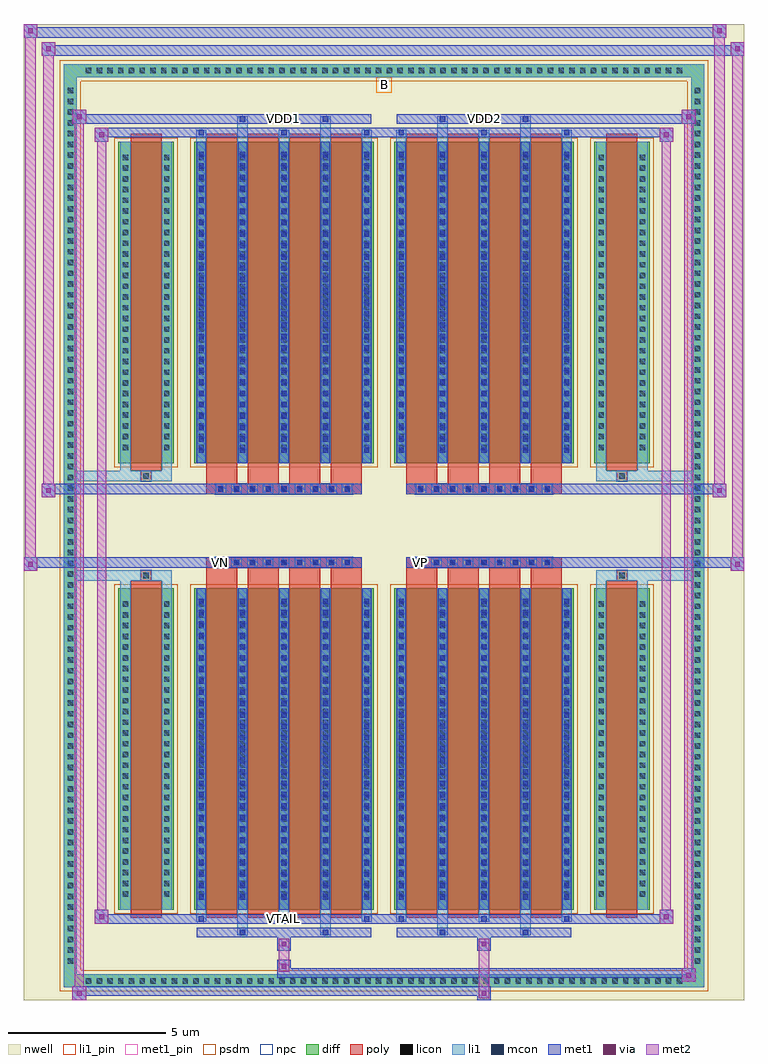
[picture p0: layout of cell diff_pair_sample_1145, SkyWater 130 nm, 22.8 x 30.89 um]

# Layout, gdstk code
import gdstk
lib = gdstk.Library(unit=1e-6, precision=5e-09)
def R(c, l, rs):  # rectangles x0, y0, x1, y1
    for r in rs: c.add(gdstk.rectangle(r[:2], r[2:], *l))
def A(c, l, x, y, w, h, nx, ny, dx, dy):  # array of equal rectangles
    R(c, l, [(x+i*dx, y+j*dy, x+i*dx+w, y+j*dy+h) for i in range(nx) for j in range(ny)])
def P(c, l, *ps):  # polygons
    for p in ps: c.add(gdstk.Polygon(p, *l))
nwell = (64, 20)
diff = (65, 20)
poly = (66, 20)
licon = (66, 44)
li1_pin = (67, 16)
li1 = (67, 20)
mcon = (67, 44)
met1_pin = (68, 16)
met1 = (68, 20)
via = (68, 44)
met2 = (69, 20)
psdm = (94, 20)
npc = (95, 20)

diff_pair_sample_1145 = lib.new_cell('diff_pair_sample_1145')
R(diff_pair_sample_1145, nwell, [(-11.4,-15.01,11.4,15.88), (-8.72,-13.2,-0.01,-0.8), (0.01,-13.2,8.72,-0.8), (-8.72,0.8,-0.01,13.2), (0.01,0.8,8.72,13.2)])
A(diff_pair_sample_1145, diff, -9.555, -14.61, 0.41, 0.41, 56, 2, 0.34, 28.81)
A(diff_pair_sample_1145, diff, -10.13, -13.975, 0.41, 0.41, 1, 82, 0, 0.34)
A(diff_pair_sample_1145, diff, 9.72, -13.975, 0.41, 0.41, 1, 82, 0, 0.34)
R(diff_pair_sample_1145, diff, [(-9.555,-14.61,9.555,-14.2), (-10.13,-13.975,-9.72,13.975), (9.72,-13.975,10.13,13.975), (-8.41,-12.155,-6.65,-1.985), (-6.01,-12.155,-0.32,-1.985), (0.32,-12.155,6.01,-1.985), (6.65,-12.155,8.41,-1.985), (-8.41,1.985,-6.65,12.155), (-6.01,1.985,-0.32,12.155), (0.32,1.985,6.01,12.155), (6.65,1.985,8.41,12.155), (-9.555,14.2,9.555,14.61)])
P(diff_pair_sample_1145, diff, [(10.13,14.61),(-10.13,14.61),(-10.13,-14.2),(-9.72,-14.2),(-9.72,14.2),(9.72,14.2),(9.72,-14.2),(-9.72,-14.2),(-10.13,-14.2),(-10.13,-14.61),(10.13,-14.61)])
A(diff_pair_sample_1145, poly, -5.62, -12.405, 0.98, 10.67, 4, 2, 1.31, 14.14)
A(diff_pair_sample_1145, poly, 0.71, -12.405, 0.98, 10.67, 4, 2, 1.31, 14.14)
A(diff_pair_sample_1145, poly, -5.62, -1.735, 0.98, 0.405, 4, 2, 1.31, 3.065)
A(diff_pair_sample_1145, poly, 0.71, -1.735, 0.98, 0.405, 4, 2, 1.31, 3.065)
A(diff_pair_sample_1145, poly, -5.33, -1.33, 0.33, 0.33, 9, 2, 0.5, 2.33)
A(diff_pair_sample_1145, poly, 1, -1.33, 0.33, 0.33, 9, 2, 0.5, 2.33)
R(diff_pair_sample_1145, poly, [(-8.02,-12.405,-7.04,-1.735), (7.04,-12.405,8.02,-1.735), (-7.695,-1.735,-7.365,-1.405), (-7.695,-1.735,-7.365,-1.405), (7.365,-1.735,7.695,-1.405), (7.365,-1.735,7.695,-1.405), (-5.62,-1.33,-0.71,-1), (0.71,-1.33,5.62,-1), (-5.62,1,-0.71,1.33), (0.71,1,5.62,1.33), (-7.695,1.405,-7.365,1.735), (-7.695,1.405,-7.365,1.735), (7.365,1.405,7.695,1.735), (7.365,1.405,7.695,1.735), (-8.02,1.735,-7.04,12.405), (7.04,1.735,8.02,12.405)])
A(diff_pair_sample_1145, licon, -9.435, -14.49, 0.17, 0.17, 56, 2, 0.34, 28.81)
A(diff_pair_sample_1145, licon, -10.01, -13.855, 0.17, 0.17, 1, 82, 0, 0.34)
A(diff_pair_sample_1145, licon, 9.84, -13.855, 0.17, 0.17, 1, 82, 0, 0.34)
A(diff_pair_sample_1145, licon, -8.27, -11.745, 0.17, 0.17, 1, 28, 0, 0.34)
A(diff_pair_sample_1145, licon, -6.96, -11.745, 0.17, 0.17, 1, 28, 0, 0.34)
A(diff_pair_sample_1145, licon, -5.87, -11.745, 0.17, 0.17, 5, 28, 1.31, 0.34)
A(diff_pair_sample_1145, licon, 0.46, -11.745, 0.17, 0.17, 5, 28, 1.31, 0.34)
A(diff_pair_sample_1145, licon, 6.79, -11.745, 0.17, 0.17, 1, 28, 0, 0.34)
A(diff_pair_sample_1145, licon, 8.1, -11.745, 0.17, 0.17, 1, 28, 0, 0.34)
A(diff_pair_sample_1145, licon, -5.25, -1.25, 0.17, 0.17, 9, 2, 0.5, 2.33)
A(diff_pair_sample_1145, licon, 1.08, -1.25, 0.17, 0.17, 9, 2, 0.5, 2.33)
A(diff_pair_sample_1145, licon, -8.27, 2.395, 0.17, 0.17, 1, 28, 0, 0.34)
A(diff_pair_sample_1145, licon, -6.96, 2.395, 0.17, 0.17, 1, 28, 0, 0.34)
A(diff_pair_sample_1145, licon, -5.87, 2.395, 0.17, 0.17, 5, 28, 1.31, 0.34)
A(diff_pair_sample_1145, licon, 0.46, 2.395, 0.17, 0.17, 5, 28, 1.31, 0.34)
A(diff_pair_sample_1145, licon, 6.79, 2.395, 0.17, 0.17, 1, 28, 0, 0.34)
A(diff_pair_sample_1145, licon, 8.1, 2.395, 0.17, 0.17, 1, 28, 0, 0.34)
R(diff_pair_sample_1145, licon, [(-7.615,-1.655,-7.445,-1.485), (7.445,-1.655,7.615,-1.485), (-7.615,1.485,-7.445,1.655), (7.445,1.485,7.615,1.655)])
R(diff_pair_sample_1145, li1_pin, [(-0.25,13.7,0.25,14.2)])
A(diff_pair_sample_1145, li1, -9.515, -14.57, 0.33, 0.33, 56, 2, 0.34, 28.81)
A(diff_pair_sample_1145, li1, -10.09, -13.935, 0.33, 0.33, 1, 82, 0, 0.34)
A(diff_pair_sample_1145, li1, 9.76, -13.935, 0.33, 0.33, 1, 82, 0, 0.34)
A(diff_pair_sample_1145, li1, -5.95, -12.53, 0.33, 0.375, 3, 2, 2.62, 24.685)
A(diff_pair_sample_1145, li1, -5.87, -12.53, 0.17, 0.17, 3, 2, 2.62, 24.89)
A(diff_pair_sample_1145, li1, 0.38, -12.53, 0.33, 0.375, 3, 2, 2.62, 24.685)
A(diff_pair_sample_1145, li1, 0.46, -12.53, 0.17, 0.17, 3, 2, 2.62, 24.89)
A(diff_pair_sample_1145, li1, -5.95, -12.155, 0.33, 10.17, 5, 2, 1.31, 14.14)
A(diff_pair_sample_1145, li1, 0.38, -12.155, 0.33, 10.17, 5, 2, 1.31, 14.14)
A(diff_pair_sample_1145, li1, -5.87, -11.835, 0.17, 0.17, 5, 27, 1.31, 0.36)
A(diff_pair_sample_1145, li1, -5.87, -11.835, 0.17, 9.53, 5, 2, 1.31, 14.14)
A(diff_pair_sample_1145, li1, 0.46, -11.835, 0.17, 0.17, 5, 27, 1.31, 0.36)
A(diff_pair_sample_1145, li1, 0.46, -11.835, 0.17, 9.53, 5, 2, 1.31, 14.14)
A(diff_pair_sample_1145, li1, -8.35, -11.825, 0.33, 0.33, 1, 28, 0, 0.34)
A(diff_pair_sample_1145, li1, -7.04, -11.825, 0.33, 0.33, 1, 28, 0, 0.34)
A(diff_pair_sample_1145, li1, -5.95, -11.825, 0.33, 0.33, 5, 28, 1.31, 0.34)
A(diff_pair_sample_1145, li1, 0.38, -11.825, 0.33, 0.33, 5, 28, 1.31, 0.34)
A(diff_pair_sample_1145, li1, 6.71, -11.825, 0.33, 0.33, 1, 28, 0, 0.34)
A(diff_pair_sample_1145, li1, 8.02, -11.825, 0.33, 0.33, 1, 28, 0, 0.34)
A(diff_pair_sample_1145, li1, -5.33, -1.33, 0.33, 0.33, 9, 2, 0.5, 2.33)
A(diff_pair_sample_1145, li1, 1, -1.33, 0.33, 0.33, 9, 2, 0.5, 2.33)
A(diff_pair_sample_1145, li1, -5.87, 2.305, 0.17, 0.17, 5, 27, 1.31, 0.36)
A(diff_pair_sample_1145, li1, 0.46, 2.305, 0.17, 0.17, 5, 27, 1.31, 0.36)
A(diff_pair_sample_1145, li1, -8.35, 2.315, 0.33, 0.33, 1, 28, 0, 0.34)
A(diff_pair_sample_1145, li1, -7.04, 2.315, 0.33, 0.33, 1, 28, 0, 0.34)
A(diff_pair_sample_1145, li1, -5.95, 2.315, 0.33, 0.33, 5, 28, 1.31, 0.34)
A(diff_pair_sample_1145, li1, 0.38, 2.315, 0.33, 0.33, 5, 28, 1.31, 0.34)
A(diff_pair_sample_1145, li1, 6.71, 2.315, 0.33, 0.33, 1, 28, 0, 0.34)
A(diff_pair_sample_1145, li1, 8.02, 2.315, 0.33, 0.33, 1, 28, 0, 0.34)
R(diff_pair_sample_1145, li1, [(-10.13,-14.61,-9.72,-14.2), (-10.13,-14.61,-9.72,-14.2), (-9.72,-14.61,9.72,-14.2), (9.72,-14.61,10.13,-14.2), (9.72,-14.61,10.13,-14.2), (-10.13,-14.2,-9.72,14.2), (9.72,-14.2,10.13,14.2), (-4.64,-12.96,-4.31,-12.155), (-4.56,-12.96,-4.39,-12.79), (-2.02,-12.96,-1.69,-12.155), (-1.94,-12.96,-1.77,-12.79), (1.69,-12.96,2.02,-12.155), (1.77,-12.96,1.94,-12.79), (4.31,-12.96,4.64,-12.155), (4.39,-12.96,4.56,-12.79), (-8.35,-12.155,-8.02,-1.985), (-7.04,-12.155,-6.71,-1.985), (6.71,-12.155,7.04,-1.985), (8.02,-12.155,8.35,-1.985), (-8.35,-1.985,-8.02,-1.405), (-7.04,-1.985,-6.71,-1.405), (6.71,-1.985,7.04,-1.405), (8.02,-1.985,8.35,-1.405), (-10.13,-1.735,-7.695,-1.405), (-8.35,-1.735,-7.695,-1.405), (-7.695,-1.735,-7.365,-1.405), (-7.365,-1.735,-6.71,-1.405), (6.71,-1.735,7.365,-1.405), (7.365,-1.735,7.695,-1.405), (7.365,-1.735,10.13,-1.405), (7.695,-1.735,8.35,-1.405), (-10.13,1.405,-7.695,1.735), (-8.35,1.405,-7.695,1.735), (-8.35,1.405,-8.02,1.985), (-7.695,1.405,-7.365,1.735), (-7.365,1.405,-6.71,1.735), (-7.04,1.405,-6.71,1.985), (6.71,1.405,7.365,1.735), (6.71,1.405,7.04,1.985), (7.365,1.405,7.695,1.735), (7.365,1.405,10.13,1.735), (7.695,1.405,8.35,1.735), (8.02,1.405,8.35,1.985), (-8.35,1.985,-8.02,12.155), (-7.04,1.985,-6.71,12.155), (6.71,1.985,7.04,12.155), (8.02,1.985,8.35,12.155), (-4.64,12.155,-4.31,12.96), (-2.02,12.155,-1.69,12.96), (1.69,12.155,2.02,12.96), (4.31,12.155,4.64,12.96), (-4.56,12.79,-4.39,12.96), (-1.94,12.79,-1.77,12.96), (1.77,12.79,1.94,12.96), (4.39,12.79,4.56,12.96), (-10.13,14.2,-9.72,14.61), (-10.13,14.2,-9.72,14.61), (-9.72,14.2,9.72,14.61), (9.72,14.2,10.13,14.61), (9.72,14.2,10.13,14.61)])
A(diff_pair_sample_1145, mcon, -5.87, -12.53, 0.17, 0.17, 3, 2, 2.62, 24.89)
A(diff_pair_sample_1145, mcon, 0.46, -12.53, 0.17, 0.17, 3, 2, 2.62, 24.89)
A(diff_pair_sample_1145, mcon, -5.87, -11.835, 0.17, 0.17, 5, 27, 1.31, 0.36)
A(diff_pair_sample_1145, mcon, 0.46, -11.835, 0.17, 0.17, 5, 27, 1.31, 0.36)
A(diff_pair_sample_1145, mcon, -5.25, -1.25, 0.17, 0.17, 9, 2, 0.5, 2.33)
A(diff_pair_sample_1145, mcon, 1.08, -1.25, 0.17, 0.17, 9, 2, 0.5, 2.33)
A(diff_pair_sample_1145, mcon, -5.87, 2.305, 0.17, 0.17, 5, 27, 1.31, 0.36)
A(diff_pair_sample_1145, mcon, 0.46, 2.305, 0.17, 0.17, 5, 27, 1.31, 0.36)
R(diff_pair_sample_1145, mcon, [(-4.56,-12.96,-4.39,-12.79), (-1.94,-12.96,-1.77,-12.79), (1.77,-12.96,1.94,-12.79), (4.39,-12.96,4.56,-12.79), (-4.56,12.79,-4.39,12.96), (-1.94,12.79,-1.77,12.96), (1.77,12.79,1.94,12.96), (4.39,12.79,4.56,12.96)])
R(diff_pair_sample_1145, met1_pin, [(-3.3,-12.57,-3.03,-12.3), (-5.3,-1.29,-5.03,-1.02), (1.03,-1.29,1.3,-1.02), (-3.3,12.75,-3.03,13.02), (3.03,12.75,3.3,13.02)])
A(diff_pair_sample_1145, met1, -5.93, -12.59, 0.29, 0.29, 3, 2, 2.62, 24.89)
A(diff_pair_sample_1145, met1, 0.4, -12.59, 0.29, 0.29, 3, 2, 2.62, 24.89)
A(diff_pair_sample_1145, met1, -5.93, -12.155, 0.29, 10.17, 5, 2, 1.31, 14.14)
A(diff_pair_sample_1145, met1, 0.4, -12.155, 0.29, 10.17, 5, 2, 1.31, 14.14)
A(diff_pair_sample_1145, met1, -5.93, -11.895, 0.29, 0.29, 5, 27, 1.31, 0.36)
A(diff_pair_sample_1145, met1, 0.4, -11.895, 0.29, 0.29, 5, 27, 1.31, 0.36)
A(diff_pair_sample_1145, met1, -5.31, -1.31, 0.29, 0.29, 9, 2, 0.5, 2.33)
A(diff_pair_sample_1145, met1, 1.02, -1.31, 0.29, 0.29, 9, 2, 0.5, 2.33)
A(diff_pair_sample_1145, met1, -5.93, 2.245, 0.29, 0.29, 5, 27, 1.31, 0.36)
A(diff_pair_sample_1145, met1, 0.4, 2.245, 0.29, 0.29, 5, 27, 1.31, 0.36)
R(diff_pair_sample_1145, met1, [(-9.86,-15.01,-9.43,-14.58), (2.95,-15.01,3.38,-14.58), (-9.86,-14.87,3.38,-14.58), (9.43,-14.44,9.86,-14.01), (-3.38,-14.3,9.86,-14.01), (-3.38,-14.16,-2.95,-13.73), (-3.38,-13.45,-2.95,-13.02), (2.95,-13.45,3.38,-13.02), (-5.93,-13.02,-0.4,-12.73), (-4.62,-13.02,-4.33,-12.73), (-2,-13.02,-1.71,-12.73), (0.4,-13.02,5.93,-12.73), (1.71,-13.02,2,-12.73), (4.33,-13.02,4.62,-12.73), (-9.15,-12.59,-8.72,-12.16), (-9.15,-12.59,-5.93,-12.3), (-5.93,-12.59,-0.4,-12.3), (-0.4,-12.59,0.4,-12.3), (0.4,-12.59,5.93,-12.3), (5.93,-12.59,9.15,-12.3), (8.72,-12.59,9.15,-12.16), (-11.4,-1.43,-10.97,-1), (10.97,-1.43,11.4,-1), (-11.4,-1.33,-0.71,-1), (-5.62,-1.33,-0.71,-1), (0.71,-1.33,5.62,-1), (0.71,-1.33,11.4,-1), (-10.83,0.9,-10.4,1.33), (10.4,0.9,10.83,1.33), (-10.83,1,-5.62,1.33), (-5.62,1,-0.71,1.33), (0.71,1,5.62,1.33), (5.62,1,10.83,1.33), (-9.15,12.16,-8.72,12.59), (8.72,12.16,9.15,12.59), (-9.15,12.3,-5.93,12.59), (-5.93,12.3,-0.4,12.59), (-0.4,12.3,0.4,12.59), (0.4,12.3,5.93,12.59), (5.93,12.3,9.15,12.59), (-9.86,12.73,-9.43,13.16), (-9.86,12.73,-5.93,13.02), (-5.93,12.73,-0.4,13.02), (-4.62,12.73,-4.33,13.02), (-2,12.73,-1.71,13.02), (0.4,12.73,5.93,13.02), (1.71,12.73,2,13.02), (4.33,12.73,4.62,13.02), (5.93,12.73,9.86,13.02), (9.43,12.73,9.86,13.16), (-10.83,14.88,-10.4,15.31), (-10.83,14.88,-8.72,15.21), (-8.72,14.88,8.72,15.21), (8.72,14.88,11.4,15.21), (10.97,14.88,11.4,15.31), (-11.4,15.45,-10.97,15.88), (-11.4,15.45,-8.72,15.78), (-8.72,15.45,8.72,15.78), (8.72,15.45,10.83,15.78), (10.4,15.45,10.83,15.88)])
R(diff_pair_sample_1145, via, [(-9.72,-14.87,-9.57,-14.72), (3.09,-14.87,3.24,-14.72), (9.57,-14.3,9.72,-14.15), (-3.24,-14.02,-3.09,-13.87), (-3.24,-13.31,-3.09,-13.16), (3.09,-13.31,3.24,-13.16), (-9.01,-12.45,-8.86,-12.3), (8.86,-12.45,9.01,-12.3), (-11.26,-1.29,-11.11,-1.14), (11.11,-1.29,11.26,-1.14), (-10.69,1.04,-10.54,1.19), (10.54,1.04,10.69,1.19), (-9.01,12.3,-8.86,12.45), (8.86,12.3,9.01,12.45), (-9.72,12.87,-9.57,13.02), (9.57,12.87,9.72,13.02), (-10.69,15.02,-10.54,15.17), (11.11,15.02,11.26,15.17), (-11.26,15.59,-11.11,15.74), (10.54,15.59,10.69,15.74)])
R(diff_pair_sample_1145, met2, [(-9.86,-15.01,-9.43,-14.58), (-9.79,-15.01,-9.5,13.16), (-9.5,-15.01,-9.43,-14.58), (-9.81,-14.96,-9.48,-14.63), (3,-14.96,3.33,-14.63), (3,-14.63,3.33,-13.4), (9.43,-14.44,9.86,-14.01), (9.5,-14.44,9.79,13.16), (9.79,-14.44,9.86,-14.01), (9.48,-14.39,9.81,-14.06), (-3.33,-14.11,-3,-13.78), (-3.33,-13.78,-3,-13.4), (-3.33,-13.4,-3,-13.07), (3,-13.4,3.33,-13.07), (-9.15,-12.59,-8.72,-12.16), (-9.08,-12.59,-8.79,12.59), (-8.79,-12.59,-8.72,-12.16), (8.72,-12.59,9.15,-12.16), (8.79,-12.59,9.08,12.59), (9.08,-12.59,9.15,-12.16), (-9.1,-12.54,-8.77,-12.21), (8.77,-12.54,9.1,-12.21), (-11.4,-1.43,-10.97,-1), (-11.35,-1.43,-11.02,15.88), (-11.02,-1.43,-10.97,-1), (10.97,-1.43,11.4,-1), (11.02,-1.43,11.35,15.31), (11.35,-1.43,11.4,-1), (-11.35,-1.38,-11.02,-1.05), (11.02,-1.38,11.35,-1.05), (-10.83,0.9,-10.4,1.33), (-10.78,0.9,-10.45,15.31), (-10.45,0.9,-10.4,1.33), (10.4,0.9,10.83,1.33), (10.45,0.9,10.78,15.88), (10.78,0.9,10.83,1.33), (-10.78,0.95,-10.45,1.28), (10.45,0.95,10.78,1.28), (-9.15,12.16,-8.72,12.59), (-8.79,12.16,-8.72,12.59), (8.72,12.16,9.15,12.59), (9.08,12.16,9.15,12.59), (-9.1,12.21,-8.77,12.54), (8.77,12.21,9.1,12.54), (-9.86,12.73,-9.43,13.16), (-9.5,12.73,-9.43,13.16), (9.43,12.73,9.86,13.16), (9.79,12.73,9.86,13.16), (-9.81,12.78,-9.48,13.11), (9.48,12.78,9.81,13.11), (-10.83,14.88,-10.4,15.31), (-10.45,14.88,-10.4,15.31), (10.97,14.88,11.4,15.31), (11.35,14.88,11.4,15.31), (-10.78,14.93,-10.45,15.26), (11.02,14.93,11.35,15.26), (-11.4,15.45,-10.97,15.88), (-11.02,15.45,-10.97,15.88), (10.4,15.45,10.83,15.88), (10.78,15.45,10.83,15.88), (-11.35,15.5,-11.02,15.83), (10.45,15.5,10.78,15.83)])
R(diff_pair_sample_1145, psdm, [(-8.54,-12.285,-6.52,-1.855), (-6.14,-12.285,-0.19,-1.855), (0.19,-12.285,6.14,-1.855), (6.52,-12.285,8.54,-1.855), (-8.54,1.855,-6.52,12.285), (-6.14,1.855,-0.19,12.285), (0.19,1.855,6.14,12.285), (6.52,1.855,8.54,12.285)])
P(diff_pair_sample_1145, psdm, [(10.26,14.74),(-10.26,14.74),(-10.26,-14.07),(-9.59,-14.07),(-9.59,14.07),(9.59,14.07),(9.59,-14.07),(-9.59,-14.07),(-10.26,-14.07),(-10.26,-14.74),(10.26,-14.74)])
A(diff_pair_sample_1145, npc, -5.35, -1.35, 0.37, 0.37, 9, 2, 0.5, 2.33)
A(diff_pair_sample_1145, npc, 0.98, -1.35, 0.37, 0.37, 9, 2, 0.5, 2.33)
R(diff_pair_sample_1145, npc, [(-7.715,-1.755,-7.345,-1.385), (7.345,-1.755,7.715,-1.385), (-5.35,-1.35,-4.48,-0.98), (-5.35,-1.35,-4.48,-0.98), (-4.85,-1.35,-3.98,-0.98), (-4.85,-1.35,-3.98,-0.98), (-4.35,-1.35,-3.48,-0.98), (-4.35,-1.35,-3.48,-0.98), (-3.85,-1.35,-2.98,-0.98), (-3.85,-1.35,-2.98,-0.98), (-3.35,-1.35,-2.48,-0.98), (-3.35,-1.35,-2.48,-0.98), (-2.85,-1.35,-1.98,-0.98), (-2.85,-1.35,-1.98,-0.98), (-2.35,-1.35,-1.48,-0.98), (-2.35,-1.35,-1.48,-0.98), (-1.85,-1.35,-0.98,-0.98), (-1.85,-1.35,-0.98,-0.98), (0.98,-1.35,1.85,-0.98), (0.98,-1.35,1.85,-0.98), (1.48,-1.35,2.35,-0.98), (1.48,-1.35,2.35,-0.98), (1.98,-1.35,2.85,-0.98), (1.98,-1.35,2.85,-0.98), (2.48,-1.35,3.35,-0.98), (2.48,-1.35,3.35,-0.98), (2.98,-1.35,3.85,-0.98), (2.98,-1.35,3.85,-0.98), (3.48,-1.35,4.35,-0.98), (3.48,-1.35,4.35,-0.98), (3.98,-1.35,4.85,-0.98), (3.98,-1.35,4.85,-0.98), (4.48,-1.35,5.35,-0.98), (4.48,-1.35,5.35,-0.98), (-5.35,0.98,-4.48,1.35), (-5.35,0.98,-4.48,1.35), (-4.85,0.98,-3.98,1.35), (-4.85,0.98,-3.98,1.35), (-4.35,0.98,-3.48,1.35), (-4.35,0.98,-3.48,1.35), (-3.85,0.98,-2.98,1.35), (-3.85,0.98,-2.98,1.35), (-3.35,0.98,-2.48,1.35), (-3.35,0.98,-2.48,1.35), (-2.85,0.98,-1.98,1.35), (-2.85,0.98,-1.98,1.35), (-2.35,0.98,-1.48,1.35), (-2.35,0.98,-1.48,1.35), (-1.85,0.98,-0.98,1.35), (-1.85,0.98,-0.98,1.35), (0.98,0.98,1.85,1.35), (0.98,0.98,1.85,1.35), (1.48,0.98,2.35,1.35), (1.48,0.98,2.35,1.35), (1.98,0.98,2.85,1.35), (1.98,0.98,2.85,1.35), (2.48,0.98,3.35,1.35), (2.48,0.98,3.35,1.35), (2.98,0.98,3.85,1.35), (2.98,0.98,3.85,1.35), (3.48,0.98,4.35,1.35), (3.48,0.98,4.35,1.35), (3.98,0.98,4.85,1.35), (3.98,0.98,4.85,1.35), (4.48,0.98,5.35,1.35), (4.48,0.98,5.35,1.35), (-7.715,1.385,-7.345,1.755), (7.345,1.385,7.715,1.755)])
diff_pair_sample_1145.add(gdstk.Label('VTAIL', (-3.165,-12.435), layer=68, texttype=5))
diff_pair_sample_1145.add(gdstk.Label('VN', (-5.165,-1.155), layer=68, texttype=5))
diff_pair_sample_1145.add(gdstk.Label('VP', (1.165,-1.155), layer=68, texttype=5))
diff_pair_sample_1145.add(gdstk.Label('B', (0,13.95), layer=67, texttype=5))
diff_pair_sample_1145.add(gdstk.Label('VDD2', (3.165,12.885), layer=68, texttype=5))
diff_pair_sample_1145.add(gdstk.Label('VDD1', (-3.165,12.885), layer=68, texttype=5))

lib.write_gds('diff_pair_sample_1145.gds')
